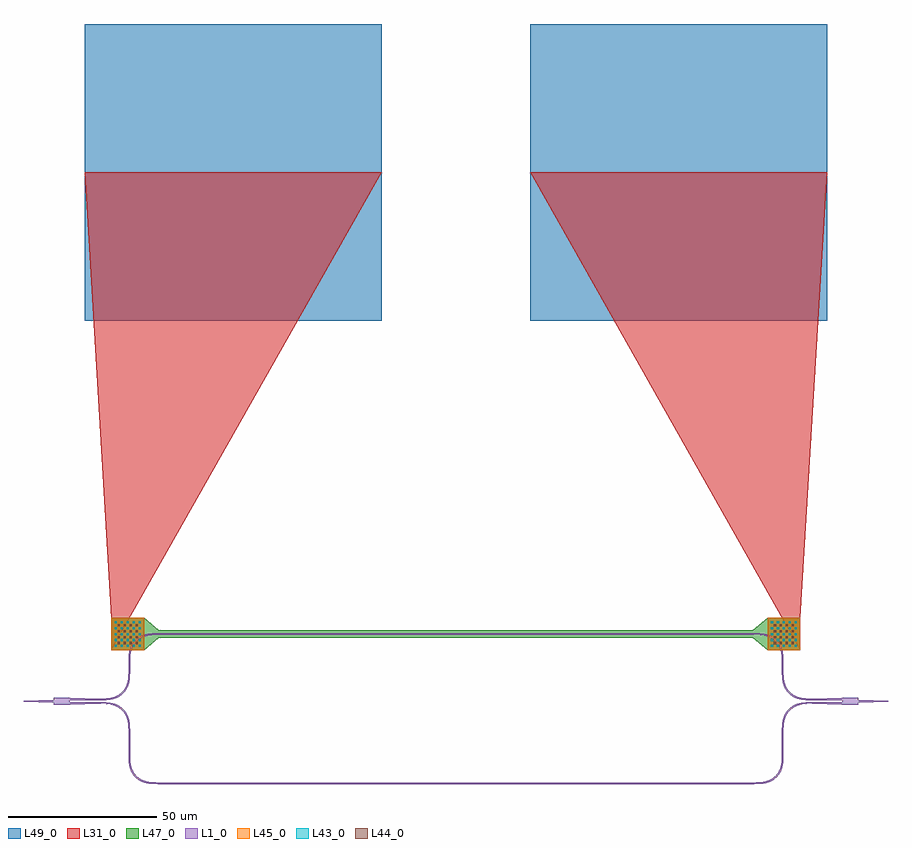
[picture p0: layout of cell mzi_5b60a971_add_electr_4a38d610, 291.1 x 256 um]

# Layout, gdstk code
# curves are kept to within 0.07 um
from math import pi, radians
import gdstk
lib = gdstk.Library(unit=1e-6, precision=1e-09)
def R(c, l, rs):  # rectangles x0, y0, x1, y1
    for r in rs: c.add(gdstk.rectangle(r[:2], r[2:], *l))
def P(c, l, *ps):  # polygons
    for p in ps: c.add(gdstk.Polygon(p, *l))
L1_0 = (1, 0)
L31_0 = (31, 0)
L43_0 = (43, 0)
L44_0 = (44, 0)
L45_0 = (45, 0)
L47_0 = (47, 0)
L49_0 = (49, 0)

mmi1x2 = lib.new_cell('mmi1x2')
R(mmi1x2, L1_0, [(0,-1.25,5.5,1.25)])
P(mmi1x2, L1_0, [(-10,0.25),(0,0.5),(0,-0.5),(-10,-0.25)],
  [(15.5,0.375),(5.5,0.125),(5.5,1.125),(15.5,0.875)],
  [(15.5,-0.875),(5.5,-1.125),(5.5,-0.125),(15.5,-0.375)])

bend_euler = lib.new_cell('bend_euler')
P(bend_euler, L1_0, [(0,-0.25),(2.724,-0.165),(3.761,-0.026),(4.739,0.201),(5.691,0.544),(6.428,0.918),(7.158,1.402),(7.859,2.003),(8.479,2.689),(9.033,3.488),(9.456,4.309),(9.799,5.261),(10.026,6.239),(10.165,7.276),(10.25,10),(9.75,10),(9.634,7.004),(9.463,5.971),(9.18,4.971),(8.508,3.59),(7.575,2.425),(6.41,1.492),(5.029,0.82),(4.029,0.537),(2.996,0.366),(0,0.25)])

straight_a4be237b = lib.new_cell('straight_a4be237b')
R(straight_a4be237b, L1_0, [(0,-0.25,7,0.25)])

straight_bac520ba = lib.new_cell('straight_bac520ba')
R(straight_bac520ba, L1_0, [(0,-0.25,200,0.25)])

straight_fba69bc3 = lib.new_cell('straight_fba69bc3')
R(straight_fba69bc3, L1_0, [(0,-0.25,2,0.25)])

straight_656999d7 = lib.new_cell('straight_656999d7')
R(straight_656999d7, L1_0, [(0,-0.25,28,0.25)])
R(straight_656999d7, L47_0, [(0,-1.25,28,1.25)])

straight_7d548e91 = lib.new_cell('straight_7d548e91')
R(straight_7d548e91, L1_0, [(0,-0.25,30,0.25)])
R(straight_7d548e91, L47_0, [(0,-1.25,30,1.25)])

straight_295d0551 = lib.new_cell('straight_295d0551')
R(straight_295d0551, L1_0, [(0,-0.25,6,0.25)])
R(straight_295d0551, L47_0, [(0,-1.25,6,1.25)])

component_sequence_eb75e = lib.new_cell('component_sequence_eb75e3e9')
component_sequence_eb75e.add(gdstk.Reference(straight_656999d7, (0,0)))
component_sequence_eb75e.add(gdstk.Reference(straight_7d548e91, (28,0)))
component_sequence_eb75e.add(gdstk.Reference(straight_295d0551, (58,0)))
component_sequence_eb75e.add(gdstk.Reference(straight_7d548e91, (64,0)))
component_sequence_eb75e.add(gdstk.Reference(straight_295d0551, (94,0)))
component_sequence_eb75e.add(gdstk.Reference(straight_7d548e91, (100,0)))
component_sequence_eb75e.add(gdstk.Reference(straight_295d0551, (130,0)))
component_sequence_eb75e.add(gdstk.Reference(straight_7d548e91, (136,0)))
component_sequence_eb75e.add(gdstk.Reference(straight_295d0551, (166,0)))
component_sequence_eb75e.add(gdstk.Reference(straight_656999d7, (172,0)))

compass_41b06480 = lib.new_cell('compass_41b06480')
R(compass_41b06480, L47_0, [(-5.5,-5.5,5.5,5.5)])

compass_a8526bc0 = lib.new_cell('compass_a8526bc0')
R(compass_a8526bc0, L45_0, [(-5.5,-5.5,5.5,5.5)])

compass_580ae069 = lib.new_cell('compass_580ae069')
R(compass_580ae069, L49_0, [(-5.5,-5.5,5.5,5.5)])

via_df374226 = lib.new_cell('via_df374226')
R(via_df374226, L44_0, [(-0.35,-0.35,0.35,0.35)])

via_acdc145d = lib.new_cell('via_acdc145d')
R(via_acdc145d, L43_0, [(-0.35,-0.35,0.35,0.35)])

contact_bae24d69 = lib.new_cell('contact_bae24d69')
contact_bae24d69.add(gdstk.Reference(compass_41b06480, (0,0)))
contact_bae24d69.add(gdstk.Reference(compass_a8526bc0, (0,0)))
contact_bae24d69.add(gdstk.Reference(compass_580ae069, (0,0)))
r = gdstk.Reference(via_df374226, (-3,-3)); r.repetition = gdstk.Repetition(4, 4, v1=(2,0), v2=(0,2)); contact_bae24d69.add(r)
r = gdstk.Reference(via_acdc145d, (-4,-4)); r.repetition = gdstk.Repetition(5, 5, v1=(2,0), v2=(0,2)); contact_bae24d69.add(r)

taper_a1c36362 = lib.new_cell('taper_a1c36362')
P(taper_a1c36362, L47_0, [(0,5.5),(5,1.25),(5,-1.25),(0,-5.5)])

straight_heater_metal_u_ = lib.new_cell('straight_heater_metal_u_84612895')
straight_heater_metal_u_.add(gdstk.Reference(component_sequence_eb75e, (0,0)))
straight_heater_metal_u_.add(gdstk.Reference(contact_bae24d69, (-10.5,0)))
straight_heater_metal_u_.add(gdstk.Reference(contact_bae24d69, (210.5,0)))
straight_heater_metal_u_.add(gdstk.Reference(taper_a1c36362, (-5,0)))
straight_heater_metal_u_.add(gdstk.Reference(taper_a1c36362, (205,0), rotation=pi))

straight_5b70f7d2 = lib.new_cell('straight_5b70f7d2')
R(straight_5b70f7d2, L1_0, [(0,-0.25,0.09,0.25)])

straight_c49ce9c6 = lib.new_cell('straight_c49ce9c6')
R(straight_c49ce9c6, L1_0, [(0,-0.25,0.01,0.25)])

mzi_5b60a971 = lib.new_cell('mzi_5b60a971')
mzi_5b60a971.add(gdstk.Reference(mmi1x2, (0,0)))
mzi_5b60a971.add(gdstk.Reference(mmi1x2, (271.1,0), rotation=pi, x_reflection=True))
mzi_5b60a971.add(gdstk.Reference(bend_euler, (15.5,-0.625), x_reflection=True))
mzi_5b60a971.add(gdstk.Reference(straight_a4be237b, (25.5,-10.625), rotation=3*pi/2))
mzi_5b60a971.add(gdstk.Reference(bend_euler, (25.5,-17.625), rotation=3*pi/2))
mzi_5b60a971.add(gdstk.Reference(straight_bac520ba, (35.5,-27.625)))
mzi_5b60a971.add(gdstk.Reference(bend_euler, (15.5,0.625)))
mzi_5b60a971.add(gdstk.Reference(straight_fba69bc3, (25.5,10.625), rotation=pi/2))
mzi_5b60a971.add(gdstk.Reference(bend_euler, (35.5,22.625), rotation=pi))
mzi_5b60a971.add(gdstk.Reference(straight_heater_metal_u_, (35.5,22.625)))
mzi_5b60a971.add(gdstk.Reference(bend_euler, (235.59,22.625), x_reflection=True))
mzi_5b60a971.add(gdstk.Reference(bend_euler, (245.59,10.625), rotation=3*pi/2))
mzi_5b60a971.add(gdstk.Reference(straight_5b70f7d2, (235.5,22.625)))
mzi_5b60a971.add(gdstk.Reference(straight_fba69bc3, (245.59,12.625), rotation=3*pi/2))
mzi_5b60a971.add(gdstk.Reference(straight_c49ce9c6, (255.59,0.625)))
mzi_5b60a971.add(gdstk.Reference(bend_euler, (235.59,-27.625)))
mzi_5b60a971.add(gdstk.Reference(bend_euler, (245.59,-10.625), rotation=pi/2, x_reflection=True))
mzi_5b60a971.add(gdstk.Reference(straight_5b70f7d2, (235.5,-27.625)))
mzi_5b60a971.add(gdstk.Reference(straight_a4be237b, (245.59,-17.625), rotation=pi/2))
mzi_5b60a971.add(gdstk.Reference(straight_c49ce9c6, (255.59,-0.625)))

compass_d8fd3e46 = lib.new_cell('compass_d8fd3e46')
R(compass_d8fd3e46, L49_0, [(-50,-50,50,50)])

pad = lib.new_cell('pad')
pad.add(gdstk.Reference(compass_d8fd3e46, (0,0)))

pad_array_d3f18571 = lib.new_cell('pad_array_d3f18571')
r = gdstk.Reference(pad, (0,0)); r.repetition = gdstk.Repetition(2, 1, v1=(150,0), v2=(0,150)); pad_array_d3f18571.add(r)

route_quad_2dcae01c = lib.new_cell('route_quad_2dcae01c')
P(route_quad_2dcae01c, L31_0, [(19.5,17.125),(19.5,28.125),(10.55,178.125),(110.55,178.125)])

route_quad_1a1b76fa = lib.new_cell('route_quad_1a1b76fa')
P(route_quad_1a1b76fa, L31_0, [(160.55,178.125),(260.55,178.125),(251.5,28.125),(251.5,17.125)])

mzi_5b60a971_add_electr_ = lib.new_cell('mzi_5b60a971_add_electr_4a38d610')
mzi_5b60a971_add_electr_.add(gdstk.Reference(mzi_5b60a971, (0,0)))
mzi_5b60a971_add_electr_.add(gdstk.Reference(pad_array_d3f18571, (60.55,178.125)))
mzi_5b60a971_add_electr_.add(gdstk.Reference(route_quad_2dcae01c, (0,0)))
mzi_5b60a971_add_electr_.add(gdstk.Reference(route_quad_1a1b76fa, (0,0)))

lib.write_gds('mzi_5b60a971_add_electr_4a38d610.gds')
